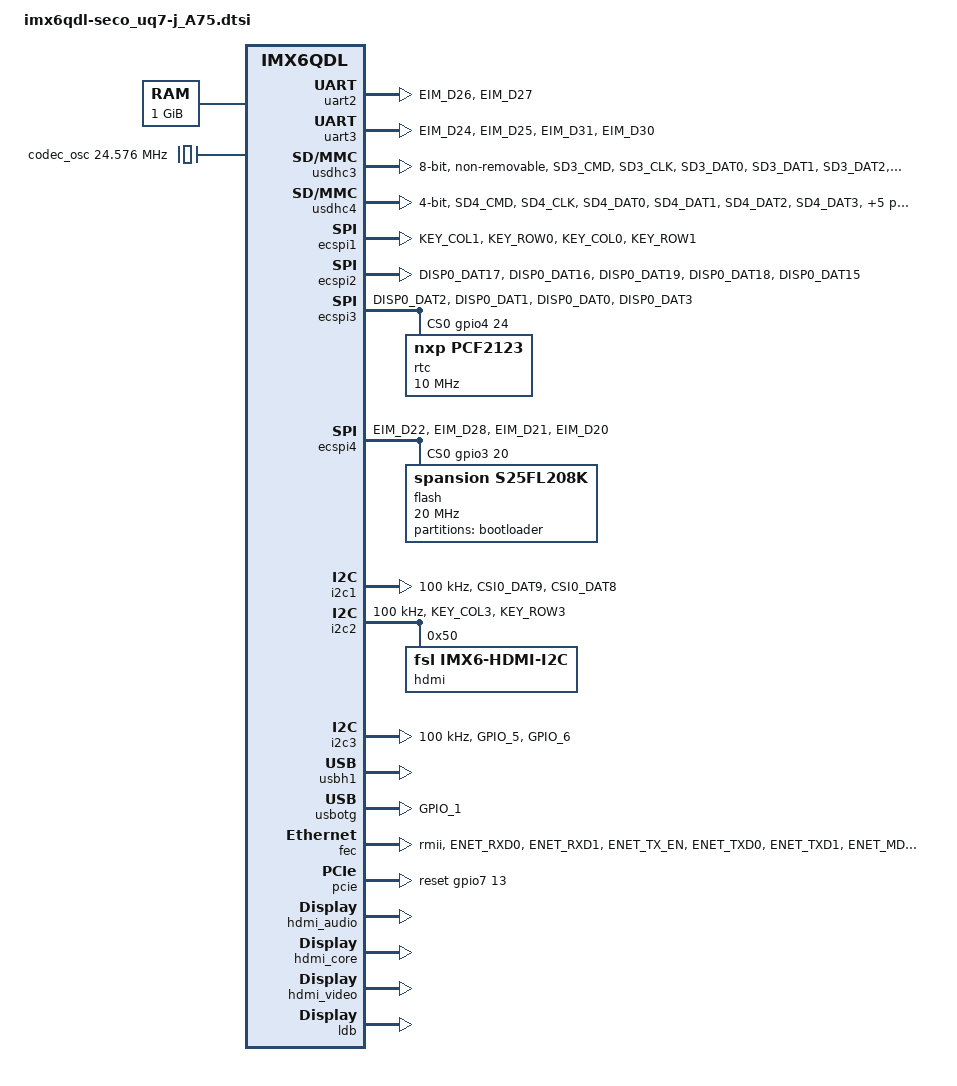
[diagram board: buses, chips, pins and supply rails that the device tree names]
/*
 * Copyright 2012 Freescale Semiconductor, Inc.
 * Copyright 2011 Linaro Ltd.
 *
 * The code contained herein is licensed under the GNU General Public
 * License. You may obtain a copy of the GNU General Public License
 * Version 2 or later at the following locations:
 *
 * http://www.opensource.org/licenses/gpl-license.html
 * http://www.gnu.org/copyleft/gpl.html
 */

#include <dt-bindings/input/input.h>
#include <dt-bindings/seco/ectrl.h>


/ {
	aliases {
		mxcfb0 = &mxcfb1;
		mxcfb1 = &mxcfb2;
		mxcfb2 = &mxcfb3;
		mxcfb3 = &mxcfb4;
	};

	memory {
		reg = <0x10000000 0x40000000>;
	};

	dynamic_choice: dynamic_choice {};

	clocks {
		codec_osc: anaclk2 {
			compatible = "fixed-clock";
			#clock-cells = <0>;
			clock-frequency = <24576000>;
		};
	};

	regulators {
		compatible = "simple-bus";
		#address-cells = <1>;
		#size-cells = <0>;

		reg_2p5v_sgtl5000: regulator@0 {
			compatible = "regulator-fixed";
			reg = <0>;
			regulator-name = "2P5V_sgtl5000";
			regulator-min-microvolt = <2500000>;
			regulator-max-microvolt = <2500000>;
			regulator-always-on;
			status = "disabled";
		};

		reg_3p3v_sgtl5000: regulator@1 {
			compatible = "regulator-fixed";
			reg = <1>;
			regulator-name = "3P3V_sgtl5000";
			regulator-min-microvolt = <3300000>;
			regulator-max-microvolt = <3300000>;
			regulator-always-on;
			status = "disabled";
		};


	};

/*  __________________________________________________________________________
 * |____________________________ AUDIO VT1613 ________________________________|
 */
    codec_vt1613: codec_vt1613 {
		compatible = "via,vt1613";
		status = "disabled";
	};

	sound_vt1613: sound_vt1613 {
		compatible = "fsl,imx-vt1613-audio";
		model = "fsl,imx-vt1613-audio";
		ssi-controller = <&ssi1>;
		audio-codec = <&codec_vt1613>;
		mux-int-port = <1>;
		mux-ext-port = <6>;
		status = "disabled";
	};

	ssi_vt1613: ssi_vt1613 {
		fsl,mode = "ac97-slave";
		pinctrl-names = "default", "ac97-running", "ac97-reset", "ac97-warm-reset";
		pinctrl-0 = <&ac97link_running>;
		pinctrl-1 = <&ac97link_running>;
		pinctrl-2 = <&ac97link_reset>;
		pinctrl-3 = <&ac97link_warm_reset>;
		/* sync, sdata (output), reset */
		ac97-gpios = <&gpio4 19 0 &gpio4 18 0 &gpio1 11 0>;
	};


/*  __________________________________________________________________________
 * |___________________________ AUDIO SGTL5000 _______________________________|
 */
	sound_sgtl5000: sound_sgtl5000 {
		compatible = "fsl,imx6q-seco-sgtl5000",
					"fsl,imx-audio-sgtl5000";
		model = "fsl,imx6q-seco-sgtl5000";
		cpu-dai = <&ssi1>;
		audio-codec = <&codec_sgtl5000>;
		audio-routing =
			"MIC_IN", "Mic Jack",
			"Mic Jack", "Mic Bias",
			"Headphone Jack", "HP_OUT";
		mux-int-port = <1>;
		mux-ext-port = <6>;
		status = "disabled";
	};

	ssi_sgtl5000: ssi_sgtl5000 {
		fsl,mode = "i2s-slave";
	};

	audmux_sgtl5000: audmux_sgtl5000 {
		pinctrl-names = "default";
		pinctrl-0 = <&pinctrl_audmux>;
	};
/*  __________________________________________________________________________
 * |__________________________________________________________________________|
 */

	sound-hdmi {
		compatible = "fsl,imx6q-audio-hdmi",
			     "fsl,imx-audio-hdmi";
		model = "imx-audio-hdmi";
		hdmi-controller = <&hdmi_audio>;
	};

/*  __________________________________________________________________________
 * |____________________________ FRAME BUFFER ________________________________|
 */
	mxcfb1: fb@0 {
		compatible = "fsl,mxc_sdc_fb";
		disp_dev = "ldb";
		interface_pix_fmt = "RGB666";
		mode_str = "LDB-WVGA";
		default_bpp = <16>;
		int_clk = <0>;
		late_init = <0>;
		status = "disabled";
	};

	mxcfb2: fb@1 {
		compatible = "fsl,mxc_sdc_fb";
		disp_dev = "hdmi";
		interface_pix_fmt = "RGB24";
		mode_str ="1920x1080M@60";
		default_bpp = <24>;
		int_clk = <0>;
		late_init = <0>;
		status = "disabled";
	};

	mxcfb3: fb@2 {
		compatible = "fsl,mxc_sdc_fb";
		disp_dev = "lcd";
		interface_pix_fmt = "RGB565";
		mode_str ="CLAA-WVGA";
		default_bpp = <16>;
		int_clk = <0>;
		late_init = <0>;
		status = "disabled";
	};

	mxcfb4: fb@3 {
		compatible = "fsl,mxc_sdc_fb";
		disp_dev = "ldb";
		interface_pix_fmt = "RGB666";
		default_bpp = <16>;
		int_clk = <0>;
		late_init = <0>;
		status = "disabled";
	};

};

&clks {
	assigned-clocks = <&clks IMX6QDL_PLL4_BYPASS_SRC>,
			  <&clks IMX6QDL_PLL4_BYPASS>,
			  <&clks IMX6QDL_CLK_PLL4_POST_DIV>;
	assigned-clock-parents = <&clks IMX6QDL_CLK_LVDS2_IN>,
				<&clks IMX6QDL_PLL4_BYPASS_SRC>;
	assigned-clock-rates = <0>, <0>, <24576000>;
};



/*  __________________________________________________________________________
 * |                                                                          |
 * |                                    IOMUX                                 |
 * |__________________________________________________________________________|
 */
&iomuxc {
	pinctrl-names = "default";
	pinctrl-0 = <&pinctrl_hog>;

	imx6qdl-uq7-j_A75 {

		pinctrl_hog: hoggrp {
			fsl,pins = <
			/*  PCF2123 interrupt  */
				MX6QDL_PAD_DISP0_DAT4__GPIO4_IO25            0x1f071

			/*  PCI reset  */
				MX6QDL_PAD_GPIO_18__GPIO7_IO13               0x1f071

			/*  Pins as GPI in Hi-Z  */
				MX6QDL_PAD_EIM_LBA__GPIO2_IO27               0x1f041
				MX6QDL_PAD_EIM_RW__GPIO2_IO26                0x1f041
				MX6QDL_PAD_EIM_A16__GPIO2_IO22               0x1f041
				MX6QDL_PAD_EIM_A17__GPIO2_IO21               0x1f041
				MX6QDL_PAD_EIM_A18__GPIO2_IO20               0x1f041
				MX6QDL_PAD_EIM_A19__GPIO2_IO19               0x1f041
				MX6QDL_PAD_EIM_A20__GPIO2_IO18               0x1f041
				MX6QDL_PAD_EIM_A21__GPIO2_IO17               0x1f041
				MX6QDL_PAD_EIM_A22__GPIO2_IO16               0x1f041
				MX6QDL_PAD_EIM_A23__GPIO6_IO06               0x1f041
				MX6QDL_PAD_EIM_A24__GPIO5_IO04               0x1f041
				MX6QDL_PAD_EIM_DA0__GPIO3_IO00               0x1f041
				MX6QDL_PAD_EIM_DA1__GPIO3_IO01               0x1f041
				MX6QDL_PAD_EIM_DA2__GPIO3_IO02               0x1f041
				MX6QDL_PAD_EIM_DA3__GPIO3_IO03               0x1f041
				MX6QDL_PAD_EIM_DA4__GPIO3_IO04               0x1f041
				MX6QDL_PAD_EIM_DA5__GPIO3_IO05               0x1f041
				MX6QDL_PAD_EIM_DA6__GPIO3_IO06               0x1f041
				MX6QDL_PAD_EIM_DA7__GPIO3_IO07               0x1f041
				MX6QDL_PAD_EIM_DA8__GPIO3_IO08               0x1f041
				MX6QDL_PAD_EIM_DA9__GPIO3_IO09               0x1f041
				MX6QDL_PAD_EIM_DA10__GPIO3_IO10              0x1f041
				MX6QDL_PAD_EIM_DA11__GPIO3_IO11              0x1f041
				MX6QDL_PAD_EIM_DA12__GPIO3_IO12              0x1f041
				MX6QDL_PAD_EIM_DA13__GPIO3_IO13              0x1f041
				MX6QDL_PAD_EIM_DA14__GPIO3_IO14              0x1f041
				MX6QDL_PAD_EIM_DA15__GPIO3_IO15              0x1f041
				MX6QDL_PAD_EIM_EB2__GPIO2_IO30               0x1f041
				MX6QDL_PAD_EIM_EB3__GPIO2_IO31               0x1f041
				MX6QDL_PAD_EIM_WAIT__GPIO5_IO00              0x1f041
				MX6QDL_PAD_EIM_EB0__GPIO2_IO28               0x1f041
				MX6QDL_PAD_EIM_EB1__GPIO2_IO29               0x1f041
			>;
		};

/*  __________________________________________________________________________
 * |________________________________ UART ____________________________________|
 */
		pinctrl_uart1: uart1grp {
			fsl,pins = <
				MX6QDL_PAD_CSI0_DAT10__UART1_TX_DATA         0x1b0b1
				MX6QDL_PAD_CSI0_DAT11__UART1_RX_DATA         0x1b0b1
				MX6QDL_PAD_KEY_ROW2__GPIO4_IO11              0x1f041
				MX6QDL_PAD_KEY_COL2__GPIO4_IO10              0x1f041
			>;
		};

		pinctrl_uart2: uart2grp {
			fsl,pins = <
				MX6QDL_PAD_EIM_D26__UART2_TX_DATA            0x1b0b1
				MX6QDL_PAD_EIM_D27__UART2_RX_DATA            0x1b0b1
			>;
		};

		pinctrl_uart3: uart3grp {
			fsl,pins = <
				MX6QDL_PAD_EIM_D24__UART3_TX_DATA            0x1b0b1
				MX6QDL_PAD_EIM_D25__UART3_RX_DATA            0x1b0b1
				MX6QDL_PAD_EIM_D31__UART3_RTS_B              0x1b0b1
				MX6QDL_PAD_EIM_D30__UART3_CTS_B              0x1b0b1
			>;
		};

/*  __________________________________________________________________________
 * |_________________________________ CAN ____________________________________|
 */
		pinctrl_flexcan1: flexcan1grp {
			fsl,pins = <
				MX6QDL_PAD_KEY_ROW2__FLEXCAN1_RX             0x80000000
				MX6QDL_PAD_KEY_COL2__FLEXCAN1_TX             0x80000000
				MX6QDL_PAD_CSI0_DAT10__GPIO5_IO28            0x1f041
				MX6QDL_PAD_CSI0_DAT11__GPIO5_IO29            0x1f041
			>;
		};

/*  __________________________________________________________________________
 * |_________________________________ I2C ____________________________________|
 */
 		pinctrl_i2c1: i2c1grp {
			fsl,pins = <
				MX6QDL_PAD_CSI0_DAT9__I2C1_SCL               0x4001b8b1
				MX6QDL_PAD_CSI0_DAT8__I2C1_SDA               0x4001b8b1
			>;
		};

		pinctrl_i2c2: i2c2grp {
			fsl,pins = <
				MX6QDL_PAD_KEY_COL3__I2C2_SCL                0x4001b8b1
				MX6QDL_PAD_KEY_ROW3__I2C2_SDA                0x4001b8b1
			 >;
		};

		pinctrl_i2c3: i2c3grp {
			fsl,pins = <
				MX6QDL_PAD_GPIO_5__I2C3_SCL                  0x4001b8b1
				MX6QDL_PAD_GPIO_6__I2C3_SDA                  0x4001b8b1
			>;
		};

/*  __________________________________________________________________________
 * |_________________________________ SPI ____________________________________|
 */
 		pinctrl_ecspi1: ecspi1grp {
			fsl,pins = <
				MX6QDL_PAD_KEY_COL1__ECSPI1_MISO             0x100b1
				MX6QDL_PAD_KEY_ROW0__ECSPI1_MOSI             0x100b1
				MX6QDL_PAD_KEY_COL0__ECSPI1_SCLK             0x100b1
				/*  CS SPI 1  */
				MX6QDL_PAD_KEY_ROW1__GPIO4_IO09              0x80000000
			>;
		};

 		pinctrl_ecspi2: ecspi2grp {
			fsl,pins = <
				MX6QDL_PAD_DISP0_DAT17__ECSPI2_MISO          0x100b1
				MX6QDL_PAD_DISP0_DAT16__ECSPI2_MOSI          0x100b1
				MX6QDL_PAD_DISP0_DAT19__ECSPI2_SCLK          0x100b1
				/*  CS SPI 2  */
				MX6QDL_PAD_DISP0_DAT18__GPIO5_IO12           0x80000000
				MX6QDL_PAD_DISP0_DAT15__GPIO5_IO09           0x80000000
			>;
		};

 		pinctrl_ecspi3: ecspi3grp {
			fsl,pins = <
				MX6QDL_PAD_DISP0_DAT2__ECSPI3_MISO           0x100b1
				MX6QDL_PAD_DISP0_DAT1__ECSPI3_MOSI           0x100b1
				MX6QDL_PAD_DISP0_DAT0__ECSPI3_SCLK           0x100b1
				/*  CS SPI 3  */
				MX6QDL_PAD_DISP0_DAT3__GPIO4_IO24            0x80000000
			>;
		};

		pinctrl_ecspi4: ecspi4grp {
			fsl,pins = <
				MX6QDL_PAD_EIM_D22__ECSPI4_MISO              0x100b1
				MX6QDL_PAD_EIM_D28__ECSPI4_MOSI              0x100b1
				MX6QDL_PAD_EIM_D21__ECSPI4_SCLK              0x100b1
				/*  CS SPI 3  */
				MX6QDL_PAD_EIM_D20__GPIO3_IO20               0x80000000
			>;
		};

/*  __________________________________________________________________________
 * |________________________________ USDHC ___________________________________|
 */
		pinctrl_usdhc3: usdhc3grp {
			fsl,pins = <
				MX6QDL_PAD_SD3_CMD__SD3_CMD                  0x17059
				MX6QDL_PAD_SD3_CLK__SD3_CLK                  0x10059
				MX6QDL_PAD_SD3_DAT0__SD3_DATA0               0x17059
				MX6QDL_PAD_SD3_DAT1__SD3_DATA1               0x17059
				MX6QDL_PAD_SD3_DAT2__SD3_DATA2               0x17059
				MX6QDL_PAD_SD3_DAT3__SD3_DATA3               0x17059
				MX6QDL_PAD_SD3_DAT4__SD3_DATA4               0x17059
				MX6QDL_PAD_SD3_DAT5__SD3_DATA5               0x17059
				MX6QDL_PAD_SD3_DAT6__SD3_DATA6               0x17059
				MX6QDL_PAD_SD3_DAT7__SD3_DATA7               0x17059
				MX6QDL_PAD_SD3_RST__SD3_RESET                0x17059
			>;
		};

		pinctrl_usdhc4: usdhc4grp {
			fsl,pins = <
				MX6QDL_PAD_SD4_CMD__SD4_CMD                  0x17059
				MX6QDL_PAD_SD4_CLK__SD4_CLK                  0x10059
				MX6QDL_PAD_SD4_DAT0__SD4_DATA0               0x17059
				MX6QDL_PAD_SD4_DAT1__SD4_DATA1               0x17059
				MX6QDL_PAD_SD4_DAT2__SD4_DATA2               0x17059
				MX6QDL_PAD_SD4_DAT3__SD4_DATA3               0x17059
				MX6QDL_PAD_NANDF_D6__GPIO2_IO06              0x17059
				MX6QDL_PAD_CSI0_DATA_EN__GPIO5_IO20          0x17059
				/*  POWER  */
				MX6QDL_PAD_NANDF_D5__GPIO2_IO05              0x17059
				/*  CARD DETECT  */
				MX6QDL_PAD_NANDF_D6__GPIO2_IO06              0x17059
				/*  WRITE PROTECT  */
				MX6QDL_PAD_CSI0_DATA_EN__GPIO5_IO20          0x17059
			>;
		};

/*  __________________________________________________________________________
 * |______________________________ ETHERNET __________________________________|
 */
 		pinctrl_enet: enetgrp {
			fsl,pins = <
				MX6QDL_PAD_ENET_RXD0__ENET_RX_DATA0          0x1b0b0
				MX6QDL_PAD_ENET_RXD1__ENET_RX_DATA1          0x1b0b0
				MX6QDL_PAD_ENET_TX_EN__ENET_TX_EN            0x1b0b0
				MX6QDL_PAD_ENET_TXD0__ENET_TX_DATA0          0x1b0b0
				MX6QDL_PAD_ENET_TXD1__ENET_TX_DATA1          0x1b0b0

				MX6QDL_PAD_ENET_MDC__ENET_MDC                0x1b0b0
				MX6QDL_PAD_ENET_MDIO__ENET_MDIO              0x1b0b0
				/*  RESET  */
				MX6QDL_PAD_GPIO_3__GPIO1_IO03                0x1f071
				/*  IRQ  */
				MX6QDL_PAD_GPIO_2__GPIO1_IO02                0x1f071
				MX6QDL_PAD_ENET_RX_ER__ENET_RX_ER            0x1b0b0
				MX6QDL_PAD_GPIO_16__ENET_REF_CLK             0x1b0b0
				MX6QDL_PAD_ENET_CRS_DV__ENET_RX_EN           0x1b0b0
				MX6QDL_PAD_ENET_REF_CLK__GPIO1_IO23          0x1b0b0
			>;
		};

/*  __________________________________________________________________________
 * |__________________________________ USB ___________________________________|
 */
 		pinctrl_usbotg: usbotggrp {
			fsl,pins = <
				MX6QDL_PAD_GPIO_1__USB_OTG_ID                0x17059
			>;
		};

/*  __________________________________________________________________________
 * |_____________________________ AUDIO AC97 _________________________________|
 */
		ac97link_running: ac97link_runninggrp {
			fsl,pins = <
				MX6QDL_PAD_DI0_PIN2__AUD6_TXD                0x130b0
				MX6QDL_PAD_DI0_PIN3__AUD6_TXFS               0x130b0
				MX6QDL_PAD_DI0_PIN4__AUD6_RXD                0x130b0
				MX6QDL_PAD_DI0_PIN15__AUD6_TXC               0x130b0
			>;
		};

		ac97link_reset: ac97link_resetgrp {
			fsl,pins = <
				/*  AUD_SYNC  */
				MX6QDL_PAD_DI0_PIN3__GPIO4_IO19              0x1f071
				/*  AUD_SDO  */
				MX6QDL_PAD_DI0_PIN2__GPIO4_IO18              0x1f071
				/*  RESET  */
				MX6QDL_PAD_SD2_CMD__GPIO1_IO11               0x1f071
			>;
		};

		ac97link_warm_reset: ac97link_warm_resetgrp {
			fsl,pins = <
				MX6QDL_PAD_DI0_PIN3__GPIO4_IO19              0x80000000
			>;
		};

		pinctrl_audmux: audmuxgrp {
			fsl,pins = <
				MX6QDL_PAD_DI0_PIN2__AUD6_TXD                0x130b0
				MX6QDL_PAD_DI0_PIN3__AUD6_TXFS               0x130b0
				MX6QDL_PAD_DI0_PIN4__AUD6_RXD                0x130b0
				MX6QDL_PAD_DI0_PIN15__AUD6_TXC               0x130b0
				MX6QDL_PAD_DISP0_DAT2__GPIO4_IO23            0x1f071
			>;
		};

	};
};

/*  __________________________________________________________________________
 * |__________________________________________________________________________|
 */




/*  __________________________________________________________________________
 * |                                                                          |
 * |                                    UART                                  |
 * |__________________________________________________________________________|
 */
&uart1 {
	pinctrl-names = "default";
	pinctrl-0 = <&pinctrl_uart1>;
	status = "disable";
};


&uart2 {
	pinctrl-names = "default";
	pinctrl-0 = <&pinctrl_uart2>;
	status = "okay";
};


&uart3 {
	pinctrl-names = "default";
	pinctrl-0 = <&pinctrl_uart3>;
	status = "okay";
};
/*  __________________________________________________________________________
 * |__________________________________________________________________________|
 */


/*  __________________________________________________________________________
 * |                                                                          |
 * |                                     CAN                                  |
 * |__________________________________________________________________________|
 */
&flexcan1 {
	pinctrl-names = "default";
	pinctrl-0 = <&pinctrl_flexcan1>;
	status = "disable";
};
/*  __________________________________________________________________________
 * |__________________________________________________________________________|
 */


/*  __________________________________________________________________________
 * |                                                                          |
 * |                                   USDHC                                  |
 * |__________________________________________________________________________|
 */
 &usdhc3 {
	pinctrl-names = "default";
	pinctrl-0 = <&pinctrl_usdhc3>;
	bus-width = <8>;
	no-1-8-v;
	non-removable;
	keep-power-in-suspend;
	status = "okay";
};


&usdhc4 {
	pinctrl-names = "default";
	pinctrl-0 = <&pinctrl_usdhc4>;
	bus-width = <4>;
	cd-gpios = <&gpio2 6 0>;
	wp-gpios = <&gpio5 20 0>;
	keep-power-in-suspend;
	enable-sdio-wakeup;
	no-1-8-v;
	status = "okay";
};
/*  __________________________________________________________________________
 * |__________________________________________________________________________|
 */


/*  __________________________________________________________________________
 * |                                                                          |
 * |                            SPI INTERFACE/DEVICE                          |
 * |__________________________________________________________________________|
 */
&ecspi1 {
	fsl,spi-num-chipselects = <1>;
	cs-gpios = <&gpio4 9 0>;
	pinctrl-names = "default";
	pinctrl-0 = <&pinctrl_ecspi1>;
	status = "okay";
};


&ecspi2 {
	fsl,spi-num-chipselects = <2>;
	cs-gpios = <&gpio5 12 0>, <&gpio5 9 9>;
	pinctrl-names = "default";
	pinctrl-0 = <&pinctrl_ecspi2>;
	status = "okay";
};


&ecspi3 {
	fsl,spi-num-chipselects = <1>;
	cs-gpios = <&gpio4 24 0>;
	pinctrl-names = "default";
	pinctrl-0 = <&pinctrl_ecspi3>;
	status = "okay";
	
	
	rtc: pcf2123@1 {
		compatible = "nxp,pcf2123";
		spi-max-frequency = <10000000>;
		spi-cs-high;
		reg = <0>;
	};
};


&ecspi4 {
	fsl,spi-num-chipselects = <1>;
	cs-gpios = <&gpio3 20 0>;
	pinctrl-names = "default";
	pinctrl-0 = <&pinctrl_ecspi4>;
	status = "okay";


	flash: m25p80@0 {

		#address-cells = <1>;
		#size-cells = <0>;

		compatible = "spansion,s25fl208k";
		spi-max-frequency = <20000000>;
		reg = <0>;

		partition@0 {
			label = "bootloader";
			reg = <0x00000000 0x00004000>;
		};
	};

};
/*  __________________________________________________________________________
 * |__________________________________________________________________________|
 */


/*  __________________________________________________________________________
 * |                                                                          |
 * |                            I2C INTERFACE/DEVICE                          |
 * |__________________________________________________________________________|
 */

&i2c1 {
	clock-frequency = <100000>;
	pinctrl-names = "default";
	pinctrl-0 = <&pinctrl_i2c1>;
	status = "okay";
};


&i2c2 {
	clock-frequency = <100000>;
	pinctrl-names = "default";
	pinctrl-0 = <&pinctrl_i2c2>;
	status = "okay";

	hdmi: edid@50 {
		compatible = "fsl,imx6-hdmi-i2c";
		reg = <0x50>;
	};

};


&i2c3 {
	clock-frequency = <100000>;
	pinctrl-names = "default";
	pinctrl-0 = <&pinctrl_i2c3>;
	status = "okay";

	codec_sgtl5000: sgtl5000@0a {
		compatible = "fsl,sgtl5000";
		reg = <0x0a>;
		clocks = <&clks IMX6QDL_CLK_CKO>;
		VDDA-supply = <&reg_2p5v_sgtl5000>;
		VDDIO-supply = <&reg_3p3v_sgtl5000>;
		status = "disabled";
	};
};
/*  __________________________________________________________________________
 * |__________________________________________________________________________|
 */


/*  __________________________________________________________________________
 * |                                                                          |
 * |                                     USB                                  |
 * |__________________________________________________________________________|
 */
&usbh1 {
	status = "okay";
};


&usbotg {
	pinctrl-names = "default";
	pinctrl-0 = <&pinctrl_usbotg>;
	disable-over-current;
	status = "okay";
};
/*  __________________________________________________________________________
 * |__________________________________________________________________________|
 */


/*  __________________________________________________________________________
 * |                                                                          |
 * |                                  ETHERNET                                |
 * |__________________________________________________________________________|
 */
 &fec {
	pinctrl-names = "default";
	pinctrl-0 = <&pinctrl_enet>;
	phy-mode = "rmii";
	phy-reset-gpios = <&gpio1 3 0>;
	phy-reset-duration = <20>;
	fsl,magic-packet;
	status = "okay";
};
/*  __________________________________________________________________________
 * |__________________________________________________________________________|
 */


/*  __________________________________________________________________________
 * |                                                                          |
 * |                                     PCI                                  |
 * |__________________________________________________________________________|
 */
&pcie {
	reset-gpio = <&gpio7 13 0>;
	status = "okay";
};
/*  __________________________________________________________________________
 * |__________________________________________________________________________|
 */

/*  __________________________________________________________________________
 * |                                                                          |
 * |                                 VIDEO OUTPUT                             |
 * |__________________________________________________________________________|
 */
&hdmi_audio {
	status = "okay";
};


&hdmi_core {
	ipu_id = <0>;
	disp_id = <0>;
	status = "okay";
};


&hdmi_video {
	fsl,phy_reg_vlev = <0x0294>;
	fsl,phy_reg_cksymtx = <0x800d>;
	status = "okay";
};

&ldb {
	status = "okay";

	lvds-channel@0 {
		reg = <0>;
		fsl,data-mapping = "spwg";
		fsl,data-width = <18>;
		status = "okay";
		primary;

		display-timings {
			native-mode = <&timing0>;

			timing0: LDB-WVGA {
				clock-frequency = <38000000>;
				hactive = <800>;
				vactive = <480>;
				hback-porch = <56>;
				hfront-porch = <50>;
				vback-porch = <20>;
				vfront-porch = <53>;
				hsync-len = <180>;
				vsync-len = <30>;
			};

			timing1: LDB-SVGA {
				clock-frequency = <40000000>;
				hactive = <800>;
				vactive = <600>;
				hback-porch = <40>;
				hfront-porch = <60>;
				vback-porch = <10>;
				vfront-porch = <10>;
				hsync-len = <20>;
				vsync-len = <10>;
			};

			timing2: LDB-WXGA {
				clock-frequency = <72000000>;
				hactive = <1368>;
				vactive = <768>;
				hback-porch = <93>;
				hfront-porch = <33>;
				vback-porch = <22>;
				vfront-porch = <7>;
				hsync-len = <40>;
				vsync-len = <4>;
			};

			timing3: LDB-XGA {
				clock-frequency = <65000000>;
				hactive = <1024>;
				vactive = <768>;
				hback-porch = <1230>;
				hfront-porch = <40>;
				vback-porch = <21>;
				vfront-porch = <7>;
				hsync-len = <60>;
				vsync-len = <10>;
			};

			timing4: LDB-SXGA {
				clock-frequency = <54000000>;
				hactive = <1280>;
				vactive = <1024>;
				hback-porch = <220>;
				hfront-porch = <40>;
				vback-porch = <21>;
				vfront-porch = <7>;
				hsync-len = <60>;
				vsync-len = <10>;
			};


			timing5: LDB-1050P60 {
				clock-frequency = <0x68e7780>;
				hactive = <0x690>;
				vactive = <0x41a>;
				hback-porch = <0x28>;
				hfront-porch = <0x50>;
				vback-porch = <0xf>;
				vfront-porch = <0xf>;
				hsync-len = <0x28>;
				vsync-len = <0x5>;
			};

			timing6: LDB-1080P60 {
				clock-frequency = <0x7bfa480>;
				hactive = <0x780>;
				vactive = <0x438>;
				hback-porch = <0x64>;
				hfront-porch = <0x28>;
				vback-porch = <0x1e>;
				vfront-porch = <0x2>;
				hsync-len = <0xa>;
				vsync-len = <0x2>;
			};

		};
	};

	lvds-channel@1 {
		reg = <1>;
		fsl,data-mapping = "spwg";
		fsl,data-width = <18>;
		status = "okay";

		crtc = "ipu2-di1";
		display-timings {
			native-mode = <&timing7>;

			timing7: seco_lvds1 {
				clock-frequency = <38000000>;
				hactive = <800>;
				vactive = <480>;
				hback-porch = <56>;
				hfront-porch = <50>;
				vback-porch = <20>;
				vfront-porch = <23>;
				hsync-len = <150>;
				vsync-len = <60>;
			};
		};
	};

};
/*  __________________________________________________________________________
 * |__________________________________________________________________________|
 */


/*  __________________________________________________________________________
 * |                                                                          |
 * |                             DYNAMIC COMPONENTS                           |
 * |__________________________________________________________________________|
 */


&dynamic_choice {

	chip_audio {
		default_mode = <&audio_codec1>;

		audio_codec0: sgtl5000 {
			code_name = "sgtl5000";
			phandle-num-enable = <6>;
			phandle-list-enable = <&sound_sgtl5000>,
								<&codec_sgtl5000>,
								<&reg_2p5v_sgtl5000>,
								<&reg_3p3v_sgtl5000>,
								<&ssi1>,
								<&audmux>;

			phandle-num-set = <2>;
			phandle-list-set = <&ssi1>,
								<&audmux>;
			phandle-list-source = <&ssi_sgtl5000>,
								<&audmux_sgtl5000>;
		};

		audio_codec1: vt1613 {
			code_name = "vt1613";
			phandle-num-enable = <4>;
			phandle-list-enable = <&sound_vt1613>,
								<&codec_vt1613>,
								<&ssi1>,
								<&audmux>;

			phandle-num-set = <1>;
			phandle-list-set = <&ssi1>;
			phandle-list-source = <&ssi_vt1613>;
		};

	};

	serial_device {
		default_mode = <&serial_device1>;

		serial_device0: flexcan {
			code_name = "flexcan";
			phandle-num-enable = <1>;
			phandle-list-enable = <&flexcan1>;

			phandle-num-set = <0>;
		};

		serial_device1: uart {
			code_name = "uart";
			phandle-num-enable = <1>;
			phandle-list-enable = <&uart1>;

			phandle-num-set = <0>;
		};

	};

};
